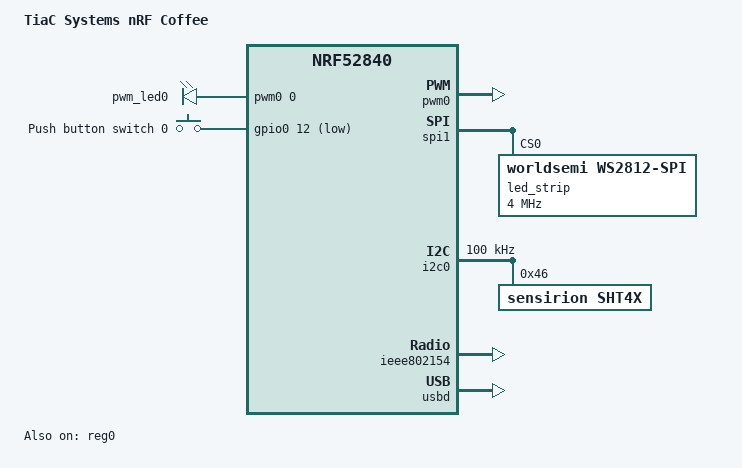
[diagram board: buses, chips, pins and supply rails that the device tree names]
/*
 * Copyright (c) 2025 TiaC Systems
 *
 * SPDX-License-Identifier: Apache-2.0
 */

/dts-v1/;
#include <nordic/nrf52840_qiaa.dtsi>
#include <nordic/nrf52840_partition.dtsi>
#include "nrf52840-pinctrl.dtsi"
#include <zephyr/dt-bindings/input/input-event-codes.h>
#include <zephyr/dt-bindings/led/led.h>

/ {
	model = "TiaC Systems nRF Coffee";
	compatible = "nordic,nrf52840";

	chosen {
		zephyr,console = &cdc_acm_uart0;
		zephyr,shell-uart = &cdc_acm_uart0;
		zephyr,uart-mcumgr = &cdc_acm_uart0;
		zephyr,bt-mon-uart = &cdc_acm_uart0;
		zephyr,bt-c2h-uart = &cdc_acm_uart0;
		zephyr,ieee802154 = &ieee802154;
	};

	pwmleds {
		compatible = "pwm-leds";
		pwm_led0: pwm_led_0 {
			pwms = <&pwm0 0 PWM_HZ(440) PWM_POLARITY_NORMAL>;
		};
	};

	buttons {
		compatible = "gpio-keys";
		button0: button_0 {
			gpios = <&gpio0 12 (GPIO_PULL_UP | GPIO_ACTIVE_LOW)>;
			label = "Push button switch 0";
			zephyr,code = <INPUT_KEY_0>;
		};
	};

	aliases {
		pwm-led0 = &pwm_led0;
		sw0 = &button0;
		mcuboot-button0 = &button0;
		watchdog0 = &wdt0;
    led-strip = &led_strip;
	};
};

&reg0 {
	status = "okay";
};

&reg1 {
	regulator-initial-mode = <NRF5X_REG_MODE_LDO>;
};

&adc {
	status = "disabled";
};

&gpiote {
	status = "okay";
};

&gpio0 {
	status = "okay";
};

&gpio1 {
	status = "okay";
};

&pwm0 {
	status = "okay";
	pinctrl-0 = <&pwm0_default>;
	pinctrl-1 = <&pwm0_sleep>;
	pinctrl-names = "default", "sleep";
};

&spi1 {
	compatible = "nordic,nrf-spim";
	status = "okay";
	pinctrl-0 = <&spi1_default>;
	pinctrl-1 = <&spi1_sleep>;
	pinctrl-names = "default", "sleep";
  led_strip: ws2812@0 {
		compatible = "worldsemi,ws2812-spi";

		/* SPI */
		reg = <0>; /* ignored, but necessary for SPI bindings */
		spi-max-frequency = <4000000>;

		/* WS2812 */
		chain-length = <4>; /* arbitrary; change at will */
		color-mapping = <LED_COLOR_ID_GREEN
				 LED_COLOR_ID_RED
				 LED_COLOR_ID_BLUE>;
		spi-one-frame = <0x70>;
		spi-zero-frame = <0x40>;
	};
};

&i2c0 {
	compatible = "nordic,nrf-twi";
	status = "okay";
	pinctrl-0 = <&i2c0_default>;
	pinctrl-1 = <&i2c0_sleep>;
	pinctrl-names = "default", "sleep";
	clock-frequency = <100000>;
  sht4x: sht4x@46 {
		compatible = "sensirion,sht4x";
		reg = <0x46>;
    repeatability = <2>;
	};
};

&ieee802154 {
	status = "okay";
};

zephyr_udc0: &usbd {
	compatible = "nordic,nrf-usbd";
	status = "okay";
  cdc_acm_uart0: cdc_acm_uart0 {
		compatible = "zephyr,cdc-acm-uart";
	};
};
